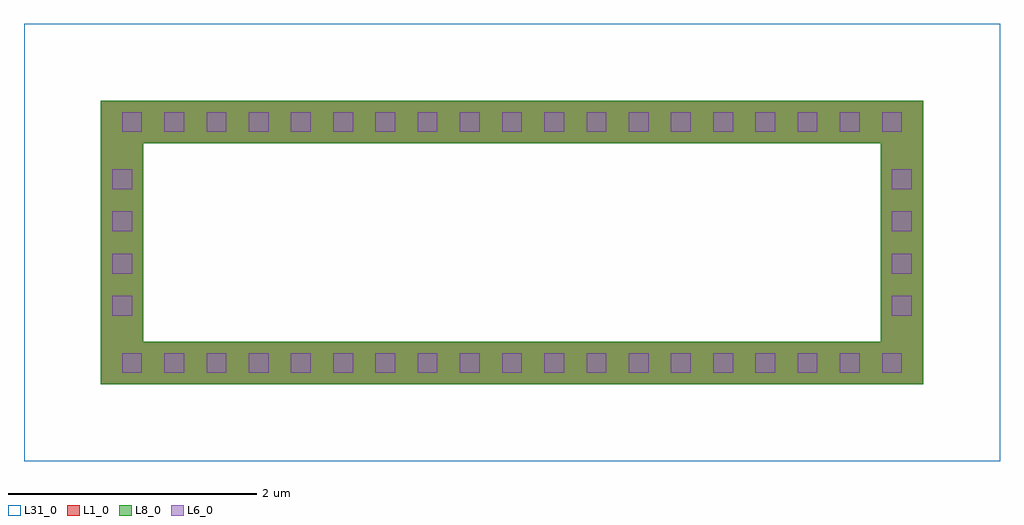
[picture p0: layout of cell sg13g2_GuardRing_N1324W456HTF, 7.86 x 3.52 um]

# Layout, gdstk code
import gdstk
lib = gdstk.Library(unit=1e-6, precision=1e-09)
def R(c, l, rs):  # rectangles x0, y0, x1, y1
    for r in rs: c.add(gdstk.rectangle(r[:2], r[2:], *l))
def A(c, l, x, y, w, h, nx, ny, dx, dy):  # array of equal rectangles
    R(c, l, [(x+i*dx, y+j*dy, x+i*dx+w, y+j*dy+h) for i in range(nx) for j in range(ny)])
def P(c, l, *ps):  # polygons
    for p in ps: c.add(gdstk.Polygon(p, *l))
L1_0 = (1, 0)
L6_0 = (6, 0)
L8_0 = (8, 0)
L31_0 = (31, 0)

sg13g2_guardring_n1324w4 = lib.new_cell('sg13g2_GuardRing_N1324W456HTF')
P(sg13g2_guardring_n1324w4, L1_0, [(-3.31,-1.14),(-3.31,0.8),(-2.97,0.8),(-2.97,-0.8),(2.97,-0.8),(2.97,0.8),(-3.31,0.8),(-3.31,1.14),(3.31,1.14),(3.31,-1.14)])
A(sg13g2_guardring_n1324w4, L6_0, -3.14, -1.05, 0.16, 0.16, 19, 2, 0.34, 1.94)
A(sg13g2_guardring_n1324w4, L6_0, -3.22, -0.59, 0.16, 0.16, 1, 4, 0, 0.34)
A(sg13g2_guardring_n1324w4, L6_0, 3.06, -0.59, 0.16, 0.16, 1, 4, 0, 0.34)
P(sg13g2_guardring_n1324w4, L8_0, [(-3.31,-1.14),(-3.31,0.8),(-2.97,0.8),(-2.97,-0.8),(2.97,-0.8),(2.97,0.8),(-3.31,0.8),(-3.31,1.14),(3.31,1.14),(3.31,-1.14)])
R(sg13g2_guardring_n1324w4, L31_0, [(-3.93,-1.76,3.93,1.76)])

lib.write_gds('sg13g2_GuardRing_N1324W456HTF.gds')
